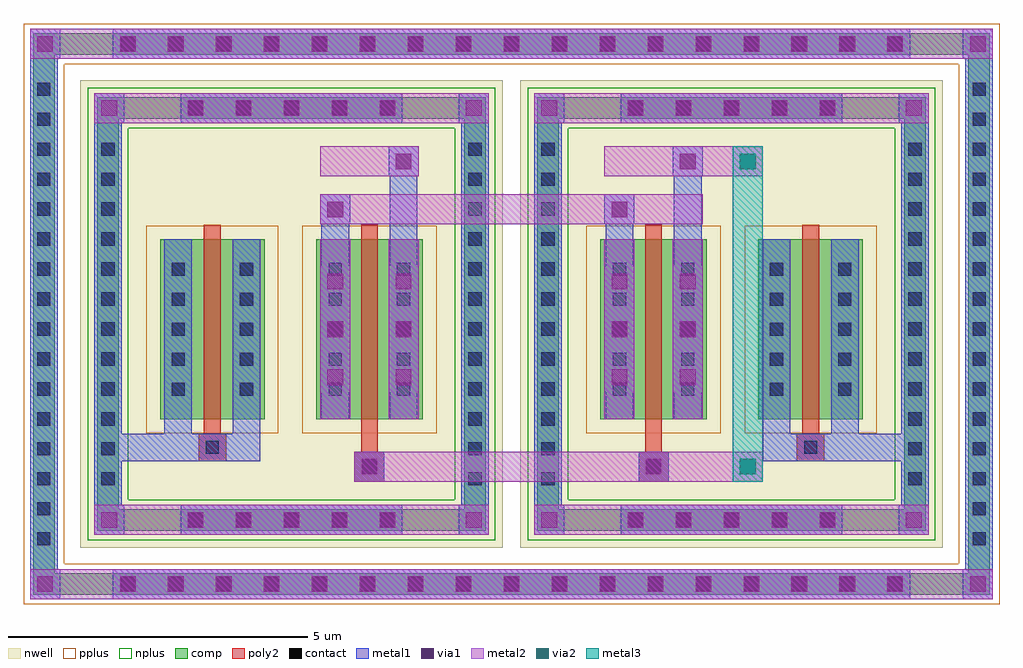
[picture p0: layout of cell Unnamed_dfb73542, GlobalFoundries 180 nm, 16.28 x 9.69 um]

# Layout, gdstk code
import gdstk
lib = gdstk.Library(unit=1e-6, precision=5e-09)
def R(c, l, rs):  # rectangles x0, y0, x1, y1
    for r in rs: c.add(gdstk.rectangle(r[:2], r[2:], *l))
def A(c, l, x, y, w, h, nx, ny, dx, dy):  # array of equal rectangles
    R(c, l, [(x+i*dx, y+j*dy, x+i*dx+w, y+j*dy+h) for i in range(nx) for j in range(ny)])
def P(c, l, *ps):  # polygons
    for p in ps: c.add(gdstk.Polygon(p, *l))
nwell = (21, 0)
comp = (22, 0)
poly2 = (30, 0)
pplus = (31, 0)
nplus = (32, 0)
contact = (33, 0)
metal1 = (34, 0)
via1 = (35, 0)
metal2 = (36, 0)
via2 = (38, 0)
metal3 = (42, 0)

unnamed_e47c1bc9 = lib.new_cell('Unnamed_e47c1bc9')
R(unnamed_e47c1bc9, nwell, [(-3.52,-3.895,3.52,3.895)])
A(unnamed_e47c1bc9, comp, -1.78, -3.615, 0.36, 0.36, 5, 2, 0.8, 6.87)
A(unnamed_e47c1bc9, comp, -3.24, -2.93, 0.36, 0.36, 1, 12, 0, 0.5)
A(unnamed_e47c1bc9, comp, 2.88, -2.93, 0.36, 0.36, 1, 12, 0, 0.5)
R(unnamed_e47c1bc9, comp, [(-1.78,-3.615,1.78,-3.255), (-3.24,-2.93,-2.88,2.93), (2.88,-2.93,3.24,2.93), (-2.19,-1.755,-0.41,1.245), (0.45,-1.755,2.19,1.245), (-1.78,3.255,1.78,3.615)])
P(unnamed_e47c1bc9, comp, [(3.24,3.615),(-3.24,3.615),(-3.24,-3.255),(-2.88,-3.255),(-2.88,3.255),(2.88,3.255),(2.88,-3.255),(-2.88,-3.255),(-3.24,-3.255),(-3.24,-3.615),(3.24,-3.615)])
R(unnamed_e47c1bc9, poly2, [(-1.55,-2.795,-1.05,-2.295), (-1.48,-2.725,-1.12,-2.365), (1.09,-2.455,1.55,-1.995), (1.14,-2.405,1.5,-2.045), (-1.44,-2.295,-1.16,-1.995), (-1.44,-1.995,-1.16,1.485), (1.18,-1.995,1.46,1.485)])
R(unnamed_e47c1bc9, pplus, [(-2.42,-1.985,-0.18,1.475), (0.22,-1.985,2.42,1.475)])
P(unnamed_e47c1bc9, nplus, [(3.4,3.775),(-3.4,3.775),(-3.4,-3.095),(-2.72,-3.095),(-2.72,3.095),(2.72,3.095),(2.72,-3.095),(-2.72,-3.095),(-3.4,-3.095),(-3.4,-3.775),(3.4,-3.775)])
A(unnamed_e47c1bc9, contact, -1.71, -3.545, 0.22, 0.22, 5, 2, 0.8, 6.87)
A(unnamed_e47c1bc9, contact, -3.17, -2.86, 0.22, 0.22, 1, 12, 0, 0.5)
A(unnamed_e47c1bc9, contact, 2.95, -2.86, 0.22, 0.22, 1, 12, 0, 0.5)
A(unnamed_e47c1bc9, contact, -1.98, -1.365, 0.22, 0.22, 1, 5, 0, 0.5)
A(unnamed_e47c1bc9, contact, -0.84, -1.365, 0.22, 0.22, 1, 5, 0, 0.5)
A(unnamed_e47c1bc9, contact, 0.64, -1.365, 0.22, 0.22, 1, 5, 0, 0.5)
A(unnamed_e47c1bc9, contact, 1.78, -1.365, 0.22, 0.22, 1, 5, 0, 0.5)
R(unnamed_e47c1bc9, contact, [(-1.41,-2.655,-1.19,-2.435), (1.21,-2.335,1.43,-2.115)])
A(unnamed_e47c1bc9, metal1, -1.85, -3.685, 0.5, 0.5, 5, 2, 0.8, 6.87)
A(unnamed_e47c1bc9, metal1, -3.29, -2.98, 0.46, 0.46, 1, 12, 0, 0.5)
A(unnamed_e47c1bc9, metal1, 2.83, -2.98, 0.46, 0.46, 1, 12, 0, 0.5)
A(unnamed_e47c1bc9, metal1, -2.1, -1.485, 0.46, 0.46, 1, 5, 0, 0.5)
A(unnamed_e47c1bc9, metal1, -0.96, -1.485, 0.46, 0.46, 1, 5, 0, 0.5)
A(unnamed_e47c1bc9, metal1, 0.52, -1.485, 0.46, 0.46, 1, 5, 0, 0.5)
A(unnamed_e47c1bc9, metal1, 1.66, -1.485, 0.46, 0.46, 1, 5, 0, 0.5)
A(unnamed_e47c1bc9, metal1, -2.12, -1.305, 0.5, 0.5, 1, 3, 0, 0.8)
A(unnamed_e47c1bc9, metal1, -0.98, -1.305, 0.5, 0.5, 1, 3, 0, 0.8)
R(unnamed_e47c1bc9, metal1, [(-3.29,-3.685,-2.79,-3.185), (-3.29,-3.685,-2.79,-3.185), (-3.29,-3.685,-2.83,-3.255), (-1.85,-3.685,1.85,-3.185), (2.79,-3.685,3.29,-3.185), (2.79,-3.685,3.29,-3.185), (2.83,-3.685,3.29,-3.255), (-3.29,-3.255,-2.83,3.255), (2.83,-3.255,3.29,3.255), (-1.55,-2.795,-1.05,-2.295), (0.52,-2.455,1.09,-1.995), (0.52,-2.455,0.98,-1.755), (1.09,-2.455,1.55,-1.995), (1.09,-2.455,3.29,-1.995), (1.55,-2.455,2.12,-1.995), (1.66,-2.455,2.12,-1.755), (-2.1,-1.755,-1.64,1.245), (-0.96,-1.755,-0.5,1.245), (0.52,-1.755,0.98,1.245), (1.66,-1.755,2.12,1.245), (-2.12,-1.305,-1.62,0.795), (-0.98,-1.305,-0.48,0.795), (-2.1,1.245,-1.64,1.995), (-0.96,1.245,-0.5,2.795), (-2.12,1.495,-1.62,1.995), (-0.98,2.295,-0.48,2.795), (-3.29,3.185,-2.79,3.685), (-3.29,3.185,-2.79,3.685), (-1.85,3.185,1.85,3.685), (2.79,3.185,3.29,3.685), (2.79,3.185,3.29,3.685), (-3.29,3.255,-2.83,3.685), (2.83,3.255,3.29,3.685)])
A(unnamed_e47c1bc9, via1, -1.73, -3.565, 0.26, 0.26, 5, 2, 0.8, 6.87)
A(unnamed_e47c1bc9, via1, -2, -1.185, 0.26, 0.26, 1, 3, 0, 0.8)
A(unnamed_e47c1bc9, via1, -0.86, -1.185, 0.26, 0.26, 1, 3, 0, 0.8)
R(unnamed_e47c1bc9, via1, [(-3.17,-3.565,-2.91,-3.305), (2.91,-3.565,3.17,-3.305), (-1.43,-2.675,-1.17,-2.415), (-2,1.615,-1.74,1.875), (-0.86,2.415,-0.6,2.675), (-3.17,3.305,-2.91,3.565), (2.91,3.305,3.17,3.565)])
A(unnamed_e47c1bc9, metal2, -1.85, -3.685, 0.5, 0.5, 5, 2, 0.8, 6.87)
A(unnamed_e47c1bc9, metal2, -2.12, -1.305, 0.5, 0.5, 1, 3, 0, 0.8)
A(unnamed_e47c1bc9, metal2, -0.98, -1.305, 0.5, 0.5, 1, 3, 0, 0.8)
R(unnamed_e47c1bc9, metal2, [(-3.29,-3.685,-2.79,-3.185), (-3.29,-3.685,-2.79,-3.185), (-3.29,-3.685,-2.88,-3.185), (-2.88,-3.685,2.88,-3.185), (2.79,-3.685,3.29,-3.185), (2.79,-3.685,3.29,-3.185), (2.88,-3.685,3.29,-3.185), (-1.55,-2.795,-1.05,-2.295), (-1.55,-2.795,-1.05,-2.295), (-2.12,-1.755,-1.62,1.245), (-0.98,-1.755,-0.48,1.245), (-2.12,1.495,-1.62,1.995), (-2.12,1.495,-0.48,1.995), (-2.12,2.295,-0.48,2.795), (-0.98,2.295,-0.48,2.795), (-3.29,3.185,-2.79,3.685), (-3.29,3.185,-2.79,3.685), (-3.29,3.185,-2.88,3.685), (-2.88,3.185,2.88,3.685), (2.79,3.185,3.29,3.685), (2.79,3.185,3.29,3.685), (2.88,3.185,3.29,3.685)])

unnamed_1ff2b4e9 = lib.new_cell('Unnamed_1ff2b4e9')
R(unnamed_1ff2b4e9, nwell, [(-3.52,-3.895,3.52,3.895)])
A(unnamed_1ff2b4e9, comp, -1.78, -3.615, 0.36, 0.36, 5, 2, 0.8, 6.87)
A(unnamed_1ff2b4e9, comp, -3.24, -2.93, 0.36, 0.36, 1, 12, 0, 0.5)
A(unnamed_1ff2b4e9, comp, 2.88, -2.93, 0.36, 0.36, 1, 12, 0, 0.5)
R(unnamed_1ff2b4e9, comp, [(-1.78,-3.615,1.78,-3.255), (-3.24,-2.93,-2.88,2.93), (2.88,-2.93,3.24,2.93), (-2.19,-1.755,-0.45,1.245), (0.41,-1.755,2.19,1.245), (-1.78,3.255,1.78,3.615)])
P(unnamed_1ff2b4e9, comp, [(3.24,3.615),(-3.24,3.615),(-3.24,-3.255),(-2.88,-3.255),(-2.88,3.255),(2.88,3.255),(2.88,-3.255),(-2.88,-3.255),(-3.24,-3.255),(-3.24,-3.615),(3.24,-3.615)])
R(unnamed_1ff2b4e9, poly2, [(1.05,-2.795,1.55,-2.295), (1.12,-2.725,1.48,-2.365), (-1.55,-2.455,-1.09,-1.995), (-1.5,-2.405,-1.14,-2.045), (1.16,-2.295,1.44,-1.995), (-1.46,-1.995,-1.18,1.485), (1.16,-1.995,1.44,1.485)])
R(unnamed_1ff2b4e9, pplus, [(-2.42,-1.985,-0.22,1.475), (0.18,-1.985,2.42,1.475)])
P(unnamed_1ff2b4e9, nplus, [(3.4,3.775),(-3.4,3.775),(-3.4,-3.095),(-2.72,-3.095),(-2.72,3.095),(2.72,3.095),(2.72,-3.095),(-2.72,-3.095),(-3.4,-3.095),(-3.4,-3.775),(3.4,-3.775)])
A(unnamed_1ff2b4e9, contact, -1.71, -3.545, 0.22, 0.22, 5, 2, 0.8, 6.87)
A(unnamed_1ff2b4e9, contact, -3.17, -2.86, 0.22, 0.22, 1, 12, 0, 0.5)
A(unnamed_1ff2b4e9, contact, 2.95, -2.86, 0.22, 0.22, 1, 12, 0, 0.5)
A(unnamed_1ff2b4e9, contact, -2, -1.365, 0.22, 0.22, 1, 5, 0, 0.5)
A(unnamed_1ff2b4e9, contact, -0.86, -1.365, 0.22, 0.22, 1, 5, 0, 0.5)
A(unnamed_1ff2b4e9, contact, 0.62, -1.365, 0.22, 0.22, 1, 5, 0, 0.5)
A(unnamed_1ff2b4e9, contact, 1.76, -1.365, 0.22, 0.22, 1, 5, 0, 0.5)
R(unnamed_1ff2b4e9, contact, [(1.19,-2.655,1.41,-2.435), (-1.43,-2.335,-1.21,-2.115)])
A(unnamed_1ff2b4e9, metal1, -1.85, -3.685, 0.5, 0.5, 5, 2, 0.8, 6.87)
A(unnamed_1ff2b4e9, metal1, -3.29, -2.98, 0.46, 0.46, 1, 12, 0, 0.5)
A(unnamed_1ff2b4e9, metal1, 2.83, -2.98, 0.46, 0.46, 1, 12, 0, 0.5)
A(unnamed_1ff2b4e9, metal1, -2.12, -1.485, 0.46, 0.46, 1, 5, 0, 0.5)
A(unnamed_1ff2b4e9, metal1, -0.98, -1.485, 0.46, 0.46, 1, 5, 0, 0.5)
A(unnamed_1ff2b4e9, metal1, 0.5, -1.485, 0.46, 0.46, 1, 5, 0, 0.5)
A(unnamed_1ff2b4e9, metal1, 1.64, -1.485, 0.46, 0.46, 1, 5, 0, 0.5)
A(unnamed_1ff2b4e9, metal1, 0.48, -1.305, 0.5, 0.5, 1, 3, 0, 0.8)
A(unnamed_1ff2b4e9, metal1, 1.62, -1.305, 0.5, 0.5, 1, 3, 0, 0.8)
R(unnamed_1ff2b4e9, metal1, [(-3.29,-3.685,-2.79,-3.185), (-3.29,-3.685,-2.79,-3.185), (-3.29,-3.685,-2.83,-3.255), (-1.85,-3.685,1.85,-3.185), (2.79,-3.685,3.29,-3.185), (2.79,-3.685,3.29,-3.185), (2.83,-3.685,3.29,-3.255), (-3.29,-3.255,-2.83,3.255), (2.83,-3.255,3.29,3.255), (1.05,-2.795,1.55,-2.295), (-3.29,-2.455,-1.55,-1.995), (-2.12,-2.455,-1.55,-1.995), (-2.12,-2.455,-1.66,-1.755), (-1.55,-2.455,-1.09,-1.995), (-1.09,-2.455,-0.52,-1.995), (-0.98,-2.455,-0.52,-1.755), (-2.12,-1.755,-1.66,1.245), (-0.98,-1.755,-0.52,1.245), (0.5,-1.755,0.96,1.245), (1.64,-1.755,2.1,1.245), (0.48,-1.305,0.98,0.795), (1.62,-1.305,2.12,0.795), (0.5,1.245,0.96,1.995), (1.64,1.245,2.1,2.795), (0.48,1.495,0.98,1.995), (1.62,2.295,2.12,2.795), (-3.29,3.185,-2.79,3.685), (-3.29,3.185,-2.79,3.685), (-1.85,3.185,1.85,3.685), (2.79,3.185,3.29,3.685), (2.79,3.185,3.29,3.685), (-3.29,3.255,-2.83,3.685), (2.83,3.255,3.29,3.685)])
A(unnamed_1ff2b4e9, via1, -1.73, -3.565, 0.26, 0.26, 5, 2, 0.8, 6.87)
A(unnamed_1ff2b4e9, via1, 0.6, -1.185, 0.26, 0.26, 1, 3, 0, 0.8)
A(unnamed_1ff2b4e9, via1, 1.74, -1.185, 0.26, 0.26, 1, 3, 0, 0.8)
R(unnamed_1ff2b4e9, via1, [(-3.17,-3.565,-2.91,-3.305), (2.91,-3.565,3.17,-3.305), (1.17,-2.675,1.43,-2.415), (0.6,1.615,0.86,1.875), (1.74,2.415,2,2.675), (-3.17,3.305,-2.91,3.565), (2.91,3.305,3.17,3.565)])
A(unnamed_1ff2b4e9, metal2, -1.85, -3.685, 0.5, 0.5, 5, 2, 0.8, 6.87)
A(unnamed_1ff2b4e9, metal2, 0.48, -1.305, 0.5, 0.5, 1, 3, 0, 0.8)
A(unnamed_1ff2b4e9, metal2, 1.62, -1.305, 0.5, 0.5, 1, 3, 0, 0.8)
R(unnamed_1ff2b4e9, metal2, [(-3.29,-3.685,-2.79,-3.185), (-3.29,-3.685,-2.79,-3.185), (-3.29,-3.685,-2.88,-3.185), (-2.88,-3.685,2.88,-3.185), (2.79,-3.685,3.29,-3.185), (2.79,-3.685,3.29,-3.185), (2.88,-3.685,3.29,-3.185), (1.05,-2.795,1.55,-2.295), (1.05,-2.795,1.55,-2.295), (0.48,-1.755,0.98,1.245), (1.62,-1.755,2.12,1.245), (0.48,1.495,0.98,1.995), (0.48,1.495,2.12,1.995), (0.48,2.295,2.12,2.795), (1.62,2.295,2.12,2.795), (-3.29,3.185,-2.79,3.685), (-3.29,3.185,-2.79,3.685), (-3.29,3.185,-2.88,3.685), (-2.88,3.185,2.88,3.685), (2.79,3.185,3.29,3.685), (2.79,3.185,3.29,3.685), (2.88,3.185,3.29,3.685)])

unnamed_a6758149_1 = lib.new_cell('Unnamed_a6758149$1')
A(unnamed_a6758149_1, comp, -6.58, -4.685, 0.36, 0.36, 17, 2, 0.8, 9.01)
A(unnamed_a6758149_1, comp, -7.98, -3.93, 0.36, 0.36, 1, 16, 0, 0.5)
A(unnamed_a6758149_1, comp, 7.62, -3.93, 0.36, 0.36, 1, 16, 0, 0.5)
R(unnamed_a6758149_1, comp, [(-6.58,-4.685,6.58,-4.325), (-7.98,-3.93,-7.62,3.93), (7.62,-3.93,7.98,3.93), (-6.58,4.325,6.58,4.685)])
P(unnamed_a6758149_1, comp, [(7.98,4.685),(-7.98,4.685),(-7.98,-4.325),(-7.62,-4.325),(-7.62,4.325),(7.62,4.325),(7.62,-4.325),(-7.62,-4.325),(-7.98,-4.325),(-7.98,-4.685),(7.98,-4.685)])
P(unnamed_a6758149_1, pplus, [(8.14,4.845),(-8.14,4.845),(-8.14,-4.165),(-7.46,-4.165),(-7.46,4.165),(7.46,4.165),(7.46,-4.165),(-7.46,-4.165),(-8.14,-4.165),(-8.14,-4.845),(8.14,-4.845)])
A(unnamed_a6758149_1, contact, -6.51, -4.615, 0.22, 0.22, 17, 2, 0.8, 9.01)
A(unnamed_a6758149_1, contact, -7.91, -3.86, 0.22, 0.22, 1, 16, 0, 0.5)
A(unnamed_a6758149_1, contact, 7.69, -3.86, 0.22, 0.22, 1, 16, 0, 0.5)
A(unnamed_a6758149_1, metal1, -6.65, -4.755, 0.5, 0.5, 17, 2, 0.8, 9.01)
A(unnamed_a6758149_1, metal1, -8.03, -3.98, 0.46, 0.46, 1, 16, 0, 0.5)
A(unnamed_a6758149_1, metal1, 7.57, -3.98, 0.46, 0.46, 1, 16, 0, 0.5)
R(unnamed_a6758149_1, metal1, [(-8.03,-4.755,-7.53,-4.255), (-8.03,-4.755,-7.53,-4.255), (-8.03,-4.755,-7.57,-4.325), (-6.65,-4.755,6.65,-4.255), (7.53,-4.755,8.03,-4.255), (7.53,-4.755,8.03,-4.255), (7.57,-4.755,8.03,-4.325), (-8.03,-4.325,-7.57,4.325), (7.57,-4.325,8.03,4.325), (-8.03,4.255,-7.53,4.755), (-8.03,4.255,-7.53,4.755), (-6.65,4.255,6.65,4.755), (7.53,4.255,8.03,4.755), (7.53,4.255,8.03,4.755), (-8.03,4.325,-7.57,4.755), (7.57,4.325,8.03,4.755)])
A(unnamed_a6758149_1, via1, -6.53, -4.635, 0.26, 0.26, 17, 2, 0.8, 9.01)
R(unnamed_a6758149_1, via1, [(-7.91,-4.635,-7.65,-4.375), (7.65,-4.635,7.91,-4.375), (-7.91,4.375,-7.65,4.635), (7.65,4.375,7.91,4.635)])
A(unnamed_a6758149_1, metal2, -6.65, -4.755, 0.5, 0.5, 17, 2, 0.8, 9.01)
R(unnamed_a6758149_1, metal2, [(-8.03,-4.755,-7.62,-4.255), (-8.03,-4.755,-7.53,-4.255), (-8.03,-4.755,-7.53,-4.255), (-7.62,-4.755,7.62,-4.255), (7.53,-4.755,8.03,-4.255), (7.53,-4.755,8.03,-4.255), (7.62,-4.755,8.03,-4.255), (-8.03,4.255,-7.62,4.755), (-8.03,4.255,-7.53,4.755), (-8.03,4.255,-7.53,4.755), (-7.62,4.255,7.62,4.755), (7.53,4.255,8.03,4.755), (7.53,4.255,8.03,4.755), (7.62,4.255,8.03,4.755)])

straight_route_ee021660 = lib.new_cell('straight_route_ee021660')
R(straight_route_ee021660, metal2, [(2.12,1.495,6.86,1.995)])

straight_route_25b9ebb2 = lib.new_cell('straight_route_25b9ebb2')
R(straight_route_25b9ebb2, metal2, [(1.55,-2.795,6.29,-2.295)])

c_route_45d51173 = lib.new_cell('c_route_45d51173')
R(c_route_45d51173, metal2, [(6.29,-2.795,7.86,-2.295), (7.36,-2.795,7.86,-2.295), (6.86,2.295,7.86,2.795), (7.36,2.295,7.86,2.795)])
R(c_route_45d51173, via2, [(7.48,-2.675,7.74,-2.415), (7.48,2.415,7.74,2.675)])
R(c_route_45d51173, metal3, [(7.36,-2.795,7.86,-2.295), (7.36,-2.795,7.86,2.795), (7.36,2.295,7.86,2.795)])
P(c_route_45d51173, metal3, [(7.86,-2.795),(7.86,-2.795),(7.86,-2.295),(7.86,-2.295)],
  [(7.86,2.295),(7.86,2.295),(7.86,2.795),(7.86,2.795)])

unnamed_dfb73542 = lib.new_cell('Unnamed_dfb73542')
unnamed_dfb73542.add(gdstk.Reference(unnamed_e47c1bc9, (7.34,0)))
unnamed_dfb73542.add(gdstk.Reference(unnamed_1ff2b4e9, (0,0)))
unnamed_dfb73542.add(gdstk.Reference(unnamed_a6758149_1, (3.67,0)))
unnamed_dfb73542.add(gdstk.Reference(straight_route_ee021660, (0,0)))
unnamed_dfb73542.add(gdstk.Reference(straight_route_25b9ebb2, (0,0)))
unnamed_dfb73542.add(gdstk.Reference(c_route_45d51173, (0,0)))

lib.write_gds('Unnamed_dfb73542.gds')
